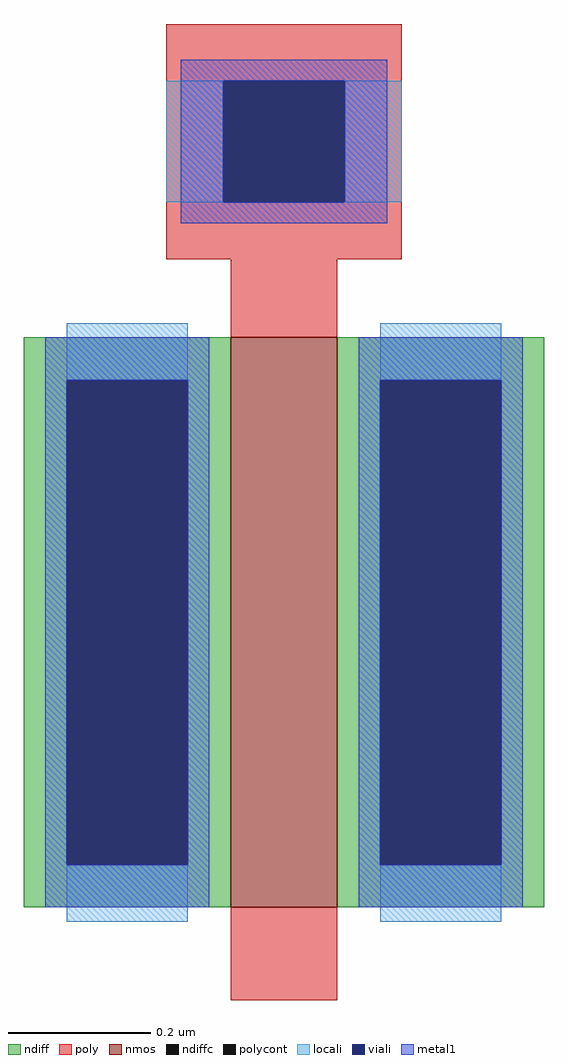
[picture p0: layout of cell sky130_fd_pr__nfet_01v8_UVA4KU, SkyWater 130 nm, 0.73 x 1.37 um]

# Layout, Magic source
magic
tech sky130A
magscale 1 2
<< nmos >>
rect -15 -111 15 49
<< ndiff >>
rect -73 37 -15 49
rect -73 -99 -61 37
rect -27 -99 -15 37
rect -73 -111 -15 -99
rect 15 37 73 49
rect 15 -99 27 37
rect 61 -99 73 37
rect 15 -111 73 -99
<< ndiffc >>
rect -61 -99 -27 37
rect 27 -99 61 37
<< poly >>
rect -33 121 33 137
rect -33 87 -17 121
rect 17 87 33 121
rect -33 71 33 87
rect -15 49 15 71
rect -15 -137 15 -111
<< polycont >>
rect -17 87 17 121
<< locali >>
rect -33 87 -17 121
rect 17 87 33 121
rect -61 37 -27 53
rect -61 -115 -27 -99
rect 27 37 61 53
rect 27 -115 61 -99
<< viali >>
rect -17 87 17 121
rect -61 -99 -27 37
rect 27 -99 61 37
<< metal1 >>
rect -29 121 29 127
rect -29 87 -17 121
rect 17 87 29 121
rect -29 81 29 87
rect -67 37 -21 49
rect -67 -99 -61 37
rect -27 -99 -21 37
rect -67 -111 -21 -99
rect 21 37 67 49
rect 21 -99 27 37
rect 61 -99 67 37
rect 21 -111 67 -99
<< properties >>
string gencell sky130_fd_pr__nfet_01v8
string library sky130
string parameters w 0.8 l 0.150 m 1 nf 1 diffcov 100 polycov 100 guard 0 glc 1 grc 1 gtc 1 gbc 1 tbcov 100 rlcov 100 topc 1 botc 0 poverlap 0 doverlap 1 lmin 0.15 wmin 0.42 compatible {sky130_fd_pr__nfet_01v8 sky130_fd_pr__nfet_01v8_lvt  sky130_fd_bs_flash__special_sonosfet_star  sky130_fd_pr__nfet_g5v0d10v5 sky130_fd_pr__nfet_05v0_nvt  sky130_fd_pr__nfet_03v3_nvt} full_metal 1 viasrc 100 viadrn 100 viagate 100 viagb 0 viagr 0 viagl 0 viagt 0
<< end >>
